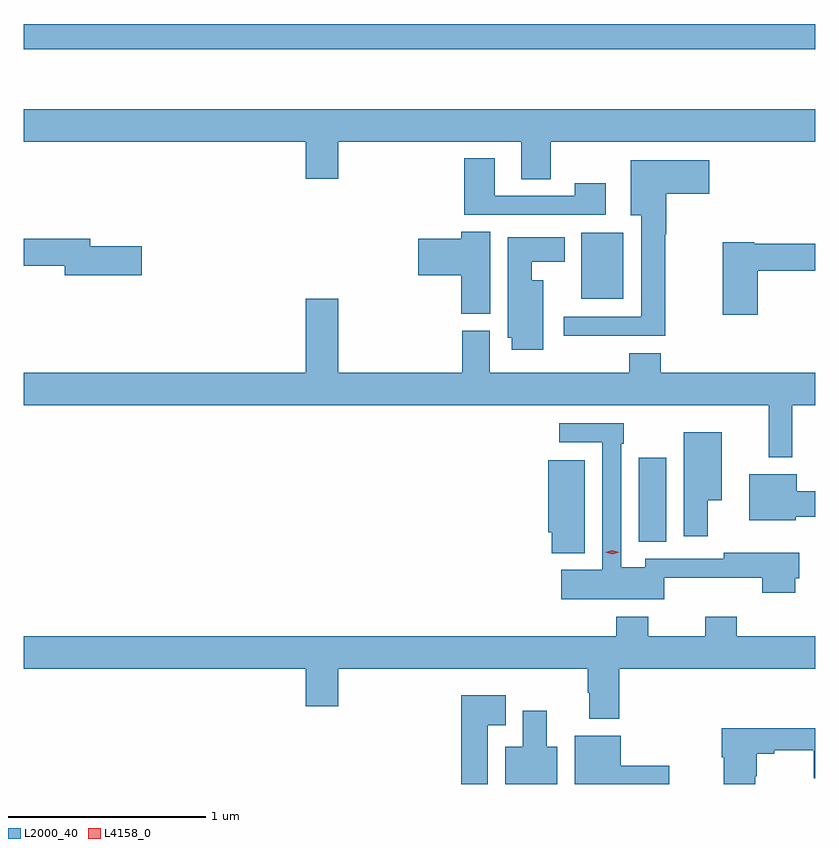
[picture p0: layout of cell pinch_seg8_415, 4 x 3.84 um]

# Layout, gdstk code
import gdstk
lib = gdstk.Library(unit=1e-6, precision=1e-09)
def R(c, l, rs):  # rectangles x0, y0, x1, y1
    for r in rs: c.add(gdstk.rectangle(r[:2], r[2:], *l))
def P(c, l, *ps):  # polygons
    for p in ps: c.add(gdstk.Polygon(p, *l))
L2000_40 = (2000, 40)
L4158_0 = (4158, 0)

pinch_seg8_415 = lib.new_cell('pinch_seg8_415')
R(pinch_seg8_415, L2000_40, [(286.571,1147.777,286.708,1148.203), (286.28,1149.005,286.492,1149.34), (283.462,1150.266,287.462,1150.394)])
P(pinch_seg8_415, L2000_40, [(286.125,1149.8),(287.462,1149.8),(287.462,1149.964),(283.462,1149.964),(283.462,1149.8),(284.888,1149.8),(284.888,1149.612),(285.052,1149.612),(285.052,1149.8),(285.977,1149.8),(285.977,1149.61),(286.125,1149.61)],
  [(286.402,1149.589),(286.246,1149.589),(286.246,1149.525),(285.841,1149.525),(285.841,1149.715),(285.689,1149.715),(285.689,1149.429),(286.402,1149.429)],
  [(286.704,1149.332),(286.709,1149.332),(286.709,1149.536),(286.927,1149.536),(286.927,1149.706),(286.529,1149.706),(286.529,1149.428),(286.583,1149.428),(286.583,1148.916),(286.191,1148.916),(286.191,1148.819),(286.704,1148.819)],
  [(285.82,1149.344),(285.674,1149.344),(285.674,1149.308),(285.456,1149.308),(285.456,1149.125),(285.674,1149.125),(285.674,1148.929),(285.82,1148.929)],
  [(286.087,1149.1),(286.03,1149.1),(286.03,1149.194),(286.195,1149.194),(286.195,1149.316),(285.908,1149.316),(285.908,1148.808),(285.929,1148.808),(285.929,1148.748),(286.087,1148.748)],
  [(284.059,1149.272),(283.798,1149.272),(283.798,1149.308),(283.462,1149.308),(283.462,1149.172),(283.67,1149.172),(283.67,1149.125),(284.059,1149.125)],
  [(287.171,1149.148),(287.462,1149.148),(287.462,1149.284),(287.154,1149.284),(287.154,1149.292),(286.993,1149.292),(286.993,1148.925),(287.171,1148.925)],
  [(287.345,1148.468),(287.462,1148.468),(287.462,1148.632),(286.682,1148.632),(286.682,1148.731),(286.522,1148.731),(286.522,1148.632),(285.817,1148.632),(285.817,1148.844),(285.677,1148.844),(285.677,1148.632),(285.052,1148.632),(285.052,1149.007),(284.888,1149.007),(284.888,1148.632),(283.462,1148.632),(283.462,1148.468),(287.227,1148.468),(287.227,1148.205),(287.345,1148.205)],
  [(286.698,1147.595),(287.195,1147.595),(287.195,1147.52),(287.36,1147.52),(287.36,1147.594),(287.38,1147.594),(287.38,1147.723),(287,1147.723),(287,1147.692),(286.602,1147.692),(286.602,1147.648),(286.482,1147.648),(286.482,1148.273),(286.495,1148.273),(286.495,1148.376),(286.167,1148.376),(286.167,1148.28),(286.386,1148.28),(286.386,1147.636),(286.179,1147.636),(286.179,1147.487),(286.698,1147.487)],
  [(286.918,1147.988),(286.99,1147.988),(286.99,1148.332),(286.796,1148.332),(286.796,1147.806),(286.918,1147.806)],
  [(286.297,1148.191),(286.112,1148.191),(286.112,1147.827),(286.13,1147.827),(286.13,1147.721),(286.297,1147.721)],
  [(287.364,1147.904),(287.462,1147.904),(287.462,1148.034),(287.368,1148.034),(287.368,1148.119),(287.129,1148.119),(287.129,1147.886),(287.364,1147.886)],
  [(286.472,1147.136),(287.462,1147.136),(287.462,1147.3),(287.066,1147.3),(287.066,1147.399),(286.906,1147.399),(286.906,1147.3),(286.617,1147.3),(286.617,1147.399),(286.457,1147.399),(286.457,1147.3),(283.462,1147.3),(283.462,1147.136),(284.888,1147.136),(284.888,1146.948),(285.052,1146.948),(285.052,1147.136),(286.312,1147.136),(286.312,1147.016),(286.319,1147.016),(286.319,1146.884),(286.472,1146.884)],
  [(285.808,1146.851),(285.898,1146.851),(285.898,1147.003),(285.674,1147.003),(285.674,1146.554),(285.808,1146.554)],
  [(286.159,1146.742),(286.105,1146.742),(286.105,1146.925),(285.983,1146.925),(285.983,1146.742),(285.896,1146.742),(285.896,1146.554),(286.159,1146.554)],
  [(287.158,1146.592),(287.166,1146.592),(287.166,1146.706),(287.254,1146.706),(287.254,1146.724),(287.455,1146.724),(287.455,1146.584),(287.462,1146.584),(287.462,1146.835),(286.988,1146.835),(286.988,1146.689),(287,1146.689),(287,1146.554),(287.158,1146.554)],
  [(286.723,1146.647),(286.48,1146.647),(286.48,1146.799),(286.247,1146.799),(286.247,1146.554),(286.723,1146.554)])
P(pinch_seg8_415, L4158_0, [(286.435,1147.715),(286.4,1147.725),(286.4,1147.725),(286.4,1147.725),(286.435,1147.735),(286.47,1147.725),(286.47,1147.725),(286.47,1147.725)])

lib.write_gds('pinch_seg8_415.gds')
